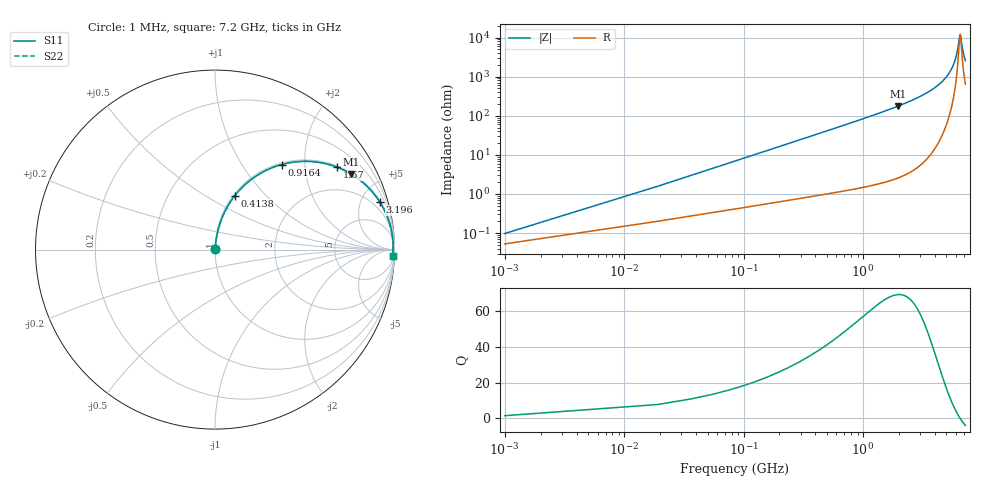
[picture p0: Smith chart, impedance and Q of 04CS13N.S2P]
! Coilcraft 0402CS-13N Chip Inductor
! 22 July 2002
# MHZ S MA R 50
!Freq  MagS11  AngS11  MagS21  AngS21  MagS12  AngS12  MagS22  AngS22
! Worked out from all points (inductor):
!   403 points, 1 MHz to 7.2 GHz, reference 50 ohm
!   read as one part in series: L = 13 nH near 36.9 MHz
!   highest Q = 69 at 1.976 GHz (marker M1), where L = 14.3 nH
!   self-resonance near 6.499 GHz
!   S11 on the Smith chart (normalised r, x): 1 MHz: 1.00, +0.00; 413.9 MHz: 1.02, +0.68; 916.5 MHz: 1.03, +1.53; 1.67 GHz: 1.04, +2.92; 3.196 GHz: 1.13, +6.88; 7.2 GHz: 14, -50
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1  0.0009721 57.1  0.9995 -0.0  0.9995 -0.0  0.0009721 57.1
54.85  0.04474 83.2  0.9957 -2.6  0.9957 -2.6  0.04474 83.2
90.75  0.07375 82.5  0.9931 -4.2  0.9931 -4.2  0.07375 82.5
144.6  0.1169 80.7  0.9879 -6.7  0.9879 -6.7  0.1169 80.7
216.4  0.1733 77.9  0.9785 -10.0  0.9785 -10.0  0.1733 77.9
413.85  0.3189 69.9  0.9393 -18.6  0.9393 -18.6  0.3189 69.9
629.25  0.4566 61.6  0.8798 -27.2  0.8798 -27.2  0.4566 61.6
916.45  0.6017 52.0  0.7878 -37.0  0.7878 -37.0  0.6017 52.0
1203.65  0.7077 44.0  0.6951 -45.0  0.6951 -45.0  0.7077 44.0
1670.35  0.8195 34.1  0.5611 -55.0  0.5611 -55.0  0.8195 34.1
1975.5  0.8662 29.2  0.4873 -60.0  0.4873 -60.0  0.8662 29.2
2406.3  0.9106 23.6  0.4 -65.6  0.4 -65.6  0.9106 23.6
3196.1  0.9555 16.1  0.2778 -72.8  0.2778 -72.8  0.9555 16.1
3608.95  0.9687 13.2  0.2276 -75.6  0.2276 -75.6  0.9687 13.2
4811.6  0.9877 6.5  0.1142 -80.6  0.1142 -80.6  0.9877 6.5
5529.6  0.9915 3.5  0.06157 -80.3  0.06157 -80.3  0.9915 3.5
6014.25  0.9922 1.7  0.0306 -74.3  0.0306 -74.3  0.9922 1.7
6211.7  0.9921 1.0  0.01925 -65.4  0.01925 -65.4  0.9921 1.0
6445.05  0.9919 0.2  0.009016 -25.4  0.009016 -25.4  0.9919 0.2
6516.85  0.9917 -0.0  0.008268 1.6  0.008268 1.6  0.9917 -0.0
6893.8  0.9908 -1.2  0.02299 65.8  0.02299 65.8  0.9908 -1.2
7200  0.9897 -2.1  0.03854 73.4  0.03854 73.4  0.9897 -2.1
